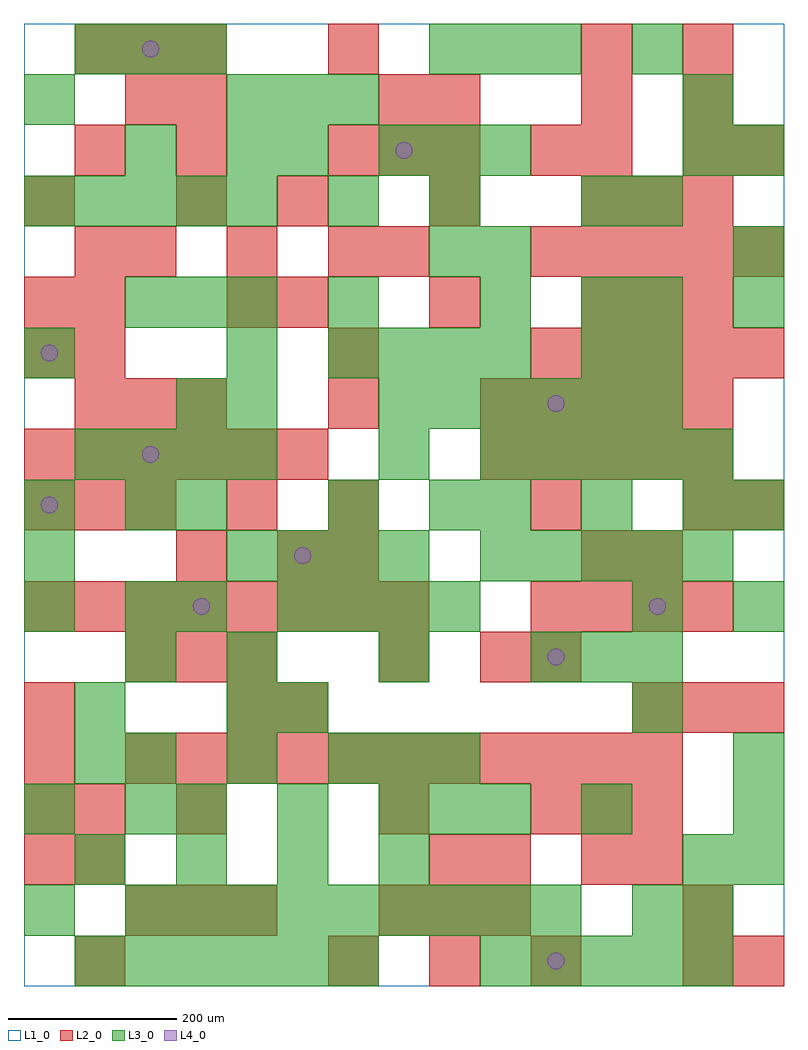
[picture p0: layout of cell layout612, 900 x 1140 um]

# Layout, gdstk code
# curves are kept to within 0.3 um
import gdstk
lib = gdstk.Library(unit=1e-6, precision=1e-09)
def R(c, l, rs):  # rectangles x0, y0, x1, y1
    for r in rs: c.add(gdstk.rectangle(r[:2], r[2:], *l))
def A(c, l, x, y, w, h, nx, ny, dx, dy):  # array of equal rectangles
    R(c, l, [(x+i*dx, y+j*dy, x+i*dx+w, y+j*dy+h) for i in range(nx) for j in range(ny)])
def P(c, l, *ps):  # polygons
    for p in ps: c.add(gdstk.Polygon(p, *l))
L1_0 = (1, 0)
L2_0 = (2, 0)
L3_0 = (3, 0)
L4_0 = (4, 0)

layout612 = lib.new_cell('layout612')
R(layout612, L1_0, [(0,0,900,1140)])
A(layout612, L2_0, 360, 0, 60, 60, 3, 1, 120, 0)
A(layout612, L2_0, 120, 60, 60, 60, 3, 2, 60, 300)
A(layout612, L2_0, 420, 60, 60, 60, 3, 1, 60, 0)
A(layout612, L2_0, 0, 120, 60, 60, 1, 4, 0, 60)
A(layout612, L2_0, 600, 180, 60, 60, 3, 1, 60, 0)
A(layout612, L2_0, 120, 240, 60, 60, 11, 1, 60, 0)
A(layout612, L2_0, 240, 300, 60, 60, 1, 3, 0, 240)
A(layout612, L2_0, 720, 300, 60, 60, 3, 1, 60, 0)
A(layout612, L2_0, 0, 420, 60, 60, 8, 1, 60, 0)
A(layout612, L2_0, 600, 420, 60, 60, 4, 1, 60, 0)
A(layout612, L2_0, 0, 540, 60, 60, 3, 1, 60, 0)
A(layout612, L2_0, 0, 600, 60, 60, 6, 1, 60, 0)
A(layout612, L2_0, 540, 600, 60, 60, 5, 2, 60, 60)
A(layout612, L2_0, 60, 660, 60, 60, 3, 2, 60, 420)
A(layout612, L2_0, 60, 720, 60, 60, 1, 3, 0, 60)
A(layout612, L2_0, 600, 720, 60, 60, 5, 2, 60, 120)
A(layout612, L2_0, 300, 780, 60, 60, 3, 2, 180, 120)
A(layout612, L2_0, 120, 840, 60, 60, 3, 1, 120, 0)
A(layout612, L2_0, 180, 900, 60, 60, 1, 3, 0, 60)
A(layout612, L2_0, 780, 900, 60, 60, 1, 4, 0, 60)
A(layout612, L2_0, 360, 960, 60, 60, 3, 1, 60, 0)
A(layout612, L2_0, 660, 960, 60, 60, 1, 3, 0, 60)
R(layout612, L2_0, [(60,0,120,60), (780,0,840,60), (840,0,900,60), (780,60,840,120), (60,120,120,180), (480,120,540,180), (540,120,600,180), (660,120,720,180), (720,120,780,180), (60,180,120,240), (180,180,240,240), (420,180,480,240), (300,300,360,360), (420,360,480,420), (540,360,600,420), (600,360,660,420), (180,480,240,540), (300,480,360,540), (360,480,420,540), (660,480,720,540), (720,480,780,540), (360,540,420,600), (600,540,660,600), (780,540,840,600), (840,540,900,600), (360,660,420,720), (0,720,60,780), (360,720,420,780), (0,780,60,840), (720,780,780,840), (780,780,840,840), (420,840,480,900), (0,900,60,960), (720,900,780,960), (60,960,120,1020), (600,960,660,1020), (840,960,900,1020), (120,1020,180,1080), (420,1020,480,1080), (480,1020,540,1080), (360,1080,420,1140)])
A(layout612, L3_0, 60, 0, 60, 60, 6, 1, 60, 0)
A(layout612, L3_0, 540, 0, 60, 60, 5, 2, 60, 480)
A(layout612, L3_0, 120, 60, 60, 60, 9, 1, 60, 0)
A(layout612, L3_0, 60, 120, 60, 60, 4, 1, 120, 0)
A(layout612, L3_0, 840, 120, 60, 60, 1, 3, 0, 60)
A(layout612, L3_0, 180, 180, 60, 60, 3, 1, 120, 0)
A(layout612, L3_0, 120, 240, 60, 60, 3, 1, 120, 0)
A(layout612, L3_0, 480, 240, 60, 60, 1, 3, 0, 300)
A(layout612, L3_0, 720, 300, 60, 60, 1, 3, 0, 60)
A(layout612, L3_0, 240, 360, 60, 60, 3, 1, 180, 0)
A(layout612, L3_0, 0, 420, 60, 60, 1, 3, 0, 60)
A(layout612, L3_0, 180, 420, 60, 60, 1, 3, 0, 120)
A(layout612, L3_0, 300, 420, 60, 60, 4, 1, 60, 0)
A(layout612, L3_0, 240, 480, 60, 60, 4, 1, 60, 0)
A(layout612, L3_0, 540, 540, 60, 60, 3, 1, 120, 0)
A(layout612, L3_0, 60, 600, 60, 60, 4, 1, 60, 0)
A(layout612, L3_0, 540, 600, 60, 60, 5, 1, 60, 0)
A(layout612, L3_0, 420, 660, 60, 60, 6, 1, 60, 0)
A(layout612, L3_0, 360, 720, 60, 60, 4, 1, 60, 0)
A(layout612, L3_0, 120, 780, 60, 60, 3, 1, 60, 0)
A(layout612, L3_0, 0, 900, 60, 60, 5, 1, 60, 0)
A(layout612, L3_0, 420, 960, 60, 60, 3, 1, 60, 0)
A(layout612, L3_0, 240, 1020, 60, 60, 3, 1, 60, 0)
A(layout612, L3_0, 60, 1080, 60, 60, 3, 1, 60, 0)
A(layout612, L3_0, 480, 1080, 60, 60, 3, 1, 60, 0)
R(layout612, L3_0, [(0,60,60,120), (720,60,780,120), (780,60,840,120), (780,120,840,180), (0,180,60,240), (120,180,180,240), (480,180,540,240), (540,180,600,240), (660,180,720,240), (60,240,120,300), (420,240,480,300), (60,300,120,360), (240,300,300,360), (300,300,360,360), (120,360,180,420), (660,360,720,420), (120,420,180,480), (840,420,900,480), (120,540,180,600), (360,540,420,600), (840,540,900,600), (420,600,480,660), (240,660,300,720), (0,720,60,780), (240,720,300,780), (660,720,720,780), (720,720,780,780), (360,780,420,840), (540,780,600,840), (660,780,720,840), (720,780,780,840), (840,780,900,840), (540,840,600,900), (840,840,900,900), (360,900,420,960), (480,900,540,960), (660,900,720,960), (720,900,780,960), (120,960,180,1020), (240,960,300,1020), (300,960,360,1020), (780,960,840,1020), (840,960,900,1020), (0,1020,60,1080), (780,1020,840,1080), (720,1080,780,1140)])
P(layout612, L4_0, [(40,570),(39.239,573.827),(37.071,577.071),(33.827,579.239),(30,580),(26.173,579.239),(22.929,577.071),(20.761,573.827),(20,570),(20.761,566.173),(22.929,562.929),(26.173,560.761),(30,560),(33.827,560.761),(37.071,562.929),(39.239,566.173)],
  [(40,750),(39.239,753.827),(37.071,757.071),(33.827,759.239),(30,760),(26.173,759.239),(22.929,757.071),(20.761,753.827),(20,750),(20.761,746.173),(22.929,742.929),(26.173,740.761),(30,740),(33.827,740.761),(37.071,742.929),(39.239,746.173)],
  [(160,630),(159.239,633.827),(157.071,637.071),(153.827,639.239),(150,640),(146.173,639.239),(142.929,637.071),(140.761,633.827),(140,630),(140.761,626.173),(142.929,622.929),(146.173,620.761),(150,620),(153.827,620.761),(157.071,622.929),(159.239,626.173)],
  [(160,1110),(159.239,1113.827),(157.071,1117.071),(153.827,1119.239),(150,1120),(146.173,1119.239),(142.929,1117.071),(140.761,1113.827),(140,1110),(140.761,1106.173),(142.929,1102.929),(146.173,1100.761),(150,1100),(153.827,1100.761),(157.071,1102.929),(159.239,1106.173)],
  [(220,450),(219.239,453.827),(217.071,457.071),(213.827,459.239),(210,460),(206.173,459.239),(202.929,457.071),(200.761,453.827),(200,450),(200.761,446.173),(202.929,442.929),(206.173,440.761),(210,440),(213.827,440.761),(217.071,442.929),(219.239,446.173)],
  [(340,510),(339.239,513.827),(337.071,517.071),(333.827,519.239),(330,520),(326.173,519.239),(322.929,517.071),(320.761,513.827),(320,510),(320.761,506.173),(322.929,502.929),(326.173,500.761),(330,500),(333.827,500.761),(337.071,502.929),(339.239,506.173)],
  [(460,990),(459.239,993.827),(457.071,997.071),(453.827,999.239),(450,1000),(446.173,999.239),(442.929,997.071),(440.761,993.827),(440,990),(440.761,986.173),(442.929,982.929),(446.173,980.761),(450,980),(453.827,980.761),(457.071,982.929),(459.239,986.173)],
  [(640,30),(639.239,33.827),(637.071,37.071),(633.827,39.239),(630,40),(626.173,39.239),(622.929,37.071),(620.761,33.827),(620,30),(620.761,26.173),(622.929,22.929),(626.173,20.761),(630,20),(633.827,20.761),(637.071,22.929),(639.239,26.173)],
  [(640,390),(639.239,393.827),(637.071,397.071),(633.827,399.239),(630,400),(626.173,399.239),(622.929,397.071),(620.761,393.827),(620,390),(620.761,386.173),(622.929,382.929),(626.173,380.761),(630,380),(633.827,380.761),(637.071,382.929),(639.239,386.173)],
  [(640,690),(639.239,693.827),(637.071,697.071),(633.827,699.239),(630,700),(626.173,699.239),(622.929,697.071),(620.761,693.827),(620,690),(620.761,686.173),(622.929,682.929),(626.173,680.761),(630,680),(633.827,680.761),(637.071,682.929),(639.239,686.173)],
  [(760,450),(759.239,453.827),(757.071,457.071),(753.827,459.239),(750,460),(746.173,459.239),(742.929,457.071),(740.761,453.827),(740,450),(740.761,446.173),(742.929,442.929),(746.173,440.761),(750,440),(753.827,440.761),(757.071,442.929),(759.239,446.173)])

lib.write_gds('layout612.gds')
